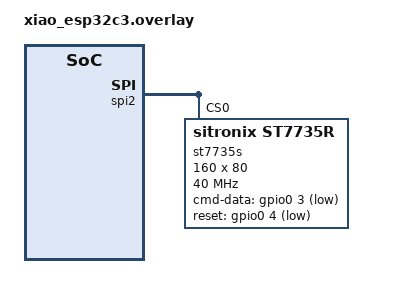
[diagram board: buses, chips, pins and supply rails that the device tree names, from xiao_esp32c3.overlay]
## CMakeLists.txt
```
cmake_minimum_required(VERSION 3.22)
set(BOARD xiao_esp32c3)

find_package(Zephyr)
project(hello_world_blinky)

target_sources(app PRIVATE src/main.c)

include_directories(/home/milan/zephyr/zephyr/include)
```

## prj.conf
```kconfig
CONFIG_SPI=y
CONFIG_DISPLAY=y
CONFIG_ST7735R=y
CONFIG_CHARACTER_FRAMEBUFFER=y
CONFIG_LOG=y

CONFIG_CONSOLE=y

CONFIG_INIT_STACKS=y
CONFIG_MAIN_STACK_SIZE=2048
CONFIG_HEAP_MEM_POOL_SIZE=16384
CONFIG_SYSTEM_WORKQUEUE_STACK_SIZE=2048

CONFIG_LVGL=y
CONFIG_LV_FONT_MONTSERRAT_32=y

CONFIG_LV_Z_MEM_POOL_SIZE=49152
CONFIG_LV_COLOR_DEPTH_16=y
CONFIG_LV_USE_LABEL=y
```

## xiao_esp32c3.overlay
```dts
/ {
    chosen {
        zephyr,display = &st7735s;
    };
};

&spi2 {
    st7735s: st7735s@0{
        compatible = "sitronix,st7735r";
        reg = <0>;
        width = <160>;
        height = <80>;

        caset = [00 00 00 4f];
        raset = [00 00 00 9f];

        colmod = <0x05>;
        madctl = <0xA0>;

        cmd-data-gpios = <&gpio0 3 GPIO_ACTIVE_LOW>;
        reset-gpios = <&gpio0 4 GPIO_ACTIVE_LOW>;

        x-offset = <0>;
        y-offset = <25>;
        
        gamctrp1 = [02 1c 07 12 37 32 29 2d 29 25 2b 39 00 01 03 10];
		gamctrn1 = [03 1d 07 06 2e 2c 29 2d 2e 2e 37 3f 00 00 02 10];

        pwctr1 = [a2 02 84];
        pwctr2 = [c5];
        pwctr3 = [0a 00];
        pwctr4 = [8a 2a];
        pwctr5 = [8a ee];

        vmctr1 = <0x0E>;

        frmctr1 = [01 2c 2c];
        frmctr2 = [01 3c 2d];
        frmctr3 = [01 3c 2d 01 3c 2d];
 
        invctr = <0x07>;

        inversion-on;
        
        spi-max-frequency = <40000000>;
    };
};
```

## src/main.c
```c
#include <zephyr/kernel.h>
#include <zephyr/drivers/gpio.h>
#include <zephyr/drivers/display.h>
#include <zephyr/device.h>
#include <stdio.h>
#include <stdlib.h>
#include <string.h>
#include <lvgl.h>

// Thread must have bigger size
#define DRAW_TRHEAD_STACK_SIZE 2048 
#define DRAW_TRHEAD_PRIORITY 0

struct display_buffer_descriptor descriptor;

extern void draw_loop(void *, void *, void *);

static const struct device *display = DEVICE_DT_GET(DT_NODELABEL(st7735s));

K_THREAD_DEFINE(draw_loop_tid, DRAW_TRHEAD_STACK_SIZE,
                draw_loop, NULL, NULL, NULL,
                DRAW_TRHEAD_PRIORITY, 0, 0);

static lv_obj_t *test_label;
static lv_disp_drv_t disp_drv;

int main(void)
{
    if(display == NULL) {
        printk("Device is null");
        return 1;
    }

    if(!device_is_ready(display)) {
        printk("Device not ready");
        return 1;
    }

	
	lv_disp_drv_init(&disp_drv);

	test_label = lv_label_create(lv_scr_act());

	static lv_style_t style;
	lv_color16_t redColor = lv_color_make(255,0,0);
	
    lv_style_init(&style);
    lv_style_set_text_font(&style, &lv_font_montserrat_32);
	lv_style_set_text_color(&style, redColor);
    lv_obj_add_style(test_label, &style, 0); 

	lv_obj_align(test_label, LV_ALIGN_CENTER, 0, 0);

	display_blanking_off(display);	
	
	// Event loop
	while (true) {
		lv_task_handler();
		k_sleep(K_MSEC(10));
	}

	return 0;
}

extern void draw_loop(void *, void *, void *) {
	int count = 0;
    while(true) {
	
		lv_label_set_text_fmt(test_label, "%d", count);

		count++;
		count = count % 100;
	
	    k_usleep(1000000);
	}
}
```
